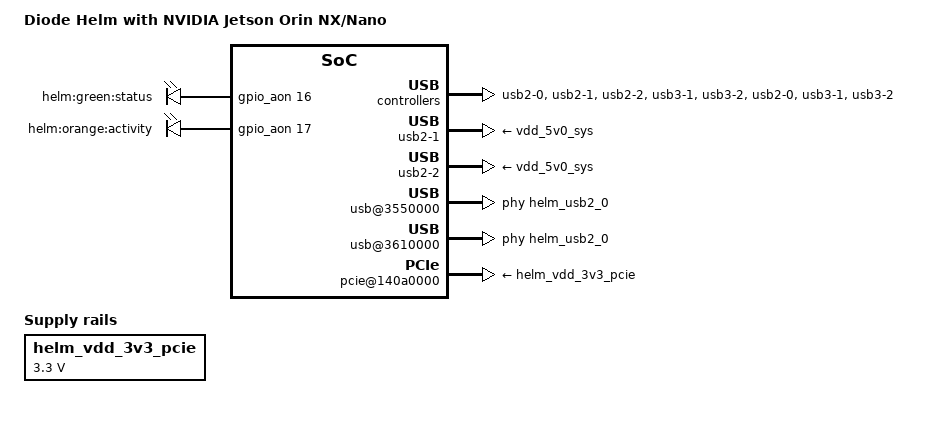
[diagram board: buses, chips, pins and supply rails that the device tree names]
// SPDX-License-Identifier: GPL-2.0-only
// Helm carrier-board overlay for Jetson Orin NX/Nano (P3767).

/dts-v1/;
/plugin/;

/ {
	compatible = "nvidia,p3768-0000+p3767-0000",
		     "nvidia,p3768-0000+p3767-0001",
		     "nvidia,p3768-0000+p3767-0003",
		     "nvidia,p3768-0000+p3767-0004",
		     "nvidia,p3768-0000+p3767-0005";

	/* Give every PHY an overlay-local phandle so the controller lists can
	 * be rebuilt without relying on numeric phandles from a particular SKU.
	 */
	fragment@0 {
		target-path = "/bus@0/padctl@3520000/pads/usb2/lanes/usb2-0";
		helm_usb2_0: __overlay__ {
			#phy-cells = <0>;
			status = "okay";
		};
	};

	fragment@1 {
		target-path = "/bus@0/padctl@3520000/pads/usb2/lanes/usb2-1";
		helm_usb2_1: __overlay__ {
			#phy-cells = <0>;
			status = "okay";
		};
	};

	fragment@2 {
		target-path = "/bus@0/padctl@3520000/pads/usb2/lanes/usb2-2";
		helm_usb2_2: __overlay__ {
			#phy-cells = <0>;
			status = "okay";
		};
	};

	fragment@3 {
		target-path = "/bus@0/padctl@3520000/pads/usb3/lanes/usb3-0";
		__overlay__ { status = "disabled"; };
	};

	fragment@4 {
		target-path = "/bus@0/padctl@3520000/pads/usb3/lanes/usb3-1";
		helm_usb3_1: __overlay__ {
			#phy-cells = <0>;
			nvidia,function = "xusb";
			status = "okay";
		};
	};

	fragment@5 {
		target-path = "/bus@0/padctl@3520000/pads/usb3/lanes/usb3-2";
		helm_usb3_2: __overlay__ {
			#phy-cells = <0>;
			nvidia,function = "xusb";
			status = "okay";
		};
	};

	/* Helm has a USB2-only, sink-wired recovery connector. */
	fragment@6 {
		target-path = "/bus@0/padctl@3520000/ports/usb2-0";
		__overlay__ {
			mode = "peripheral";
			status = "okay";
		};
	};

	/* USB-C host 1 is USB2-1 paired with physical SuperSpeed lane 1. */
	fragment@7 {
		target-path = "/bus@0/padctl@3520000/ports/usb2-1";
		__overlay__ {
			mode = "host";
			vbus-supply = <&vdd_5v0_sys>;
			status = "okay";
		};
	};

	/* USB-C host 2 is USB2-2 paired with physical SuperSpeed lane 2. */
	fragment@8 {
		target-path = "/bus@0/padctl@3520000/ports/usb2-2";
		__overlay__ {
			mode = "host";
			vbus-supply = <&vdd_5v0_sys>;
			status = "okay";
		};
	};

	fragment@9 {
		target-path = "/bus@0/padctl@3520000/ports/usb3-0";
		__overlay__ { status = "disabled"; };
	};

	fragment@10 {
		target-path = "/bus@0/padctl@3520000/ports/usb3-1";
		__overlay__ {
			nvidia,usb2-companion = <1>;
			status = "okay";
		};
	};

	fragment@11 {
		target-path = "/bus@0/padctl@3520000/ports/usb3-2";
		__overlay__ {
			nvidia,usb2-companion = <2>;
			status = "okay";
		};
	};

	fragment@12 {
		target-path = "/bus@0/usb@3550000";
		__overlay__ {
			phys = <&helm_usb2_0>;
			phy-names = "usb2-0";
			status = "okay";
		};
	};

	fragment@13 {
		target-path = "/bus@0/usb@3610000";
		__overlay__ {
			phys = <&helm_usb2_0>, <&helm_usb2_1>, <&helm_usb2_2>,
			       <&helm_usb3_1>, <&helm_usb3_2>;
			phy-names = "usb2-0", "usb2-1", "usb2-2",
				    "usb3-1", "usb3-2";
			status = "okay";
		};
	};

	fragment@14 {
		target-path = "/bus@0/i2c@c240000/fusb301@25";
		__overlay__ { status = "disabled"; };
	};

	fragment@15 {
		target-path = "/bus@0/i2c@3160000/eeprom@57";
		__overlay__ { status = "disabled"; };
	};

	fragment@16 {
		target-path = "/gpio-keys/key-power";
		__overlay__ { status = "disabled"; };
	};

	/* SoM pins 126/127 are AON GPIO CC.0/CC.1. The stock P3767 MB1
	 * pinmux already configures both as driven GPIOs.
	 */
	fragment@17 {
		target-path = "/";
		__overlay__ {
			model = "Diode Helm with NVIDIA Jetson Orin NX/Nano";
			diode,carrier = "helm";

			/* Helm's 3.3 V rail is not switched by the P3768 carrier
			 * GPIO. C8 connects the SoC to the GbE PHY on the module.
			 */
			helm_vdd_3v3_pcie: helm-vdd-3v3-pcie {
				compatible = "regulator-fixed";
				regulator-name = "HELM_VDD_3V3_PCIE";
				regulator-min-microvolt = <3300000>;
				regulator-max-microvolt = <3300000>;
				regulator-always-on;
				regulator-boot-on;
			};

			helm-leds {
				compatible = "gpio-leds";

				green-status {
					label = "helm:green:status";
					gpios = <&gpio_aon 16 0>;
					linux,default-trigger = "heartbeat";
					default-state = "on";
					retain-state-suspended;
				};

				orange-activity {
					label = "helm:orange:activity";
					gpios = <&gpio_aon 17 0>;
					linux,default-trigger = "disk-activity";
					default-state = "off";
					panic-indicator;
				};
			};
		};
	};

	fragment@18 {
		target-path = "/bus@0/pcie@140a0000";
		__overlay__ {
			vpcie3v3-supply = <&helm_vdd_3v3_pcie>;
			status = "okay";
		};
	};

	/* The stock P3768 regulator depends on a carrier GPIO that Helm does
	 * not route. Keep the node for overlay compatibility, but never probe it.
	 */
	fragment@19 {
		target-path = "/regulator-vdd-3v3-pcie";
		__overlay__ { status = "disabled"; };
	};
};
